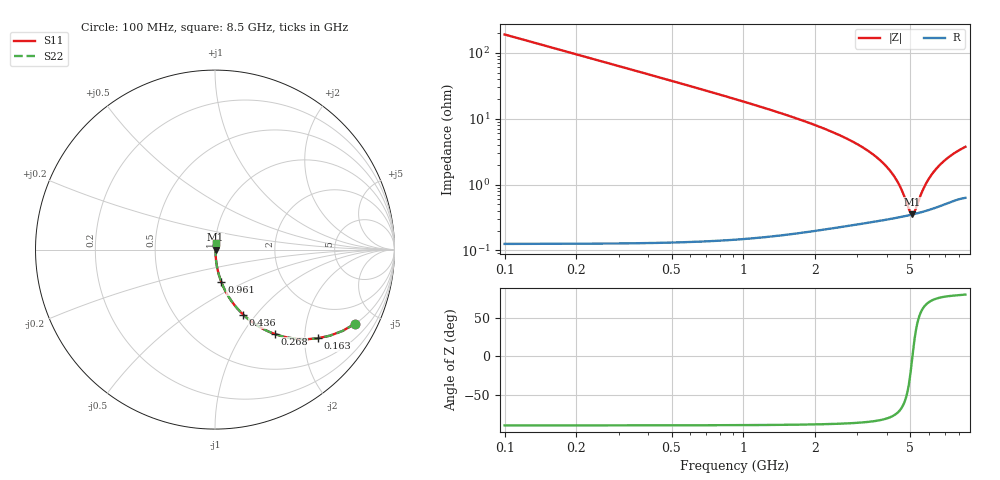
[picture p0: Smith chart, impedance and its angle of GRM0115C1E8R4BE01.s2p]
!Murata Part Number: GRM0115C1E8R4BE01
!These Parameters are Measured in Series Mode Connection
!Data Generated on Mar 30, 2021
!  o--ll--o
!Port1  Port2
!  o------o
!Operation Temp=25[degC], DC Bias Voltage=0[V]
!Freq. Start=100[MHz] Stop=9[GHz] 401[Steps]
# Hz S RI R 50
!Freq.(Hz) S11(Real) S11(Imag) S21(Real) S21(Imag) S12(Real) S12(Imag) S22(Real) S22(Imag)
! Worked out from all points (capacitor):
!   401 points, 100 MHz to 8.5 GHz, reference 50 ohm
!   read as one part in series: C = 8.4 pF near 142 MHz
!   lowest |Z| = 352 mohm at 5.098 GHz (marker M1)
!   series resonance near 5.102 GHz, so ESL is about 120 pH
!   S11 on the Smith chart (normalised r, x): 100 MHz: 1.00, -3.79; 163 MHz: 1.00, -2.32; 268 MHz: 1.00, -1.41; 436 MHz: 1.00, -0.86; 961 MHz: 1.00, -0.38; 8.5 GHz: 1.01, +0.07
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1e8  0.7818 -0.4127  0.2182 0.4127  0.2182 0.4127  0.7818 -0.4127
1.63e8  0.5741 -0.4939  0.4259 0.4939  0.4259 0.4939  0.5741 -0.4939
2.05e8  0.4599 -0.4977  0.5401 0.4977  0.5401 0.4977  0.4599 -0.4977
2.68e8  0.3322 -0.4701  0.6678 0.4701  0.6678 0.4701  0.3322 -0.4701
3.52e8  0.2234 -0.4153  0.7766 0.4153  0.7766 0.4153  0.2234 -0.4153
4.36e8  0.1575 -0.3628  0.8425 0.3628  0.8425 0.3628  0.1575 -0.3628
6.46e8  0.0778 -0.2655  0.9222 0.2655  0.9222 0.2655  0.0778 -0.2655
9.61e8  0.0361 -0.1826  0.9639 0.1826  0.9639 0.1826  0.0361 -0.1826
1.507e9  0.0145 -0.1124  0.9855 0.1124  0.9855 0.1124  0.0145 -0.1124
2.914e9  0.0043 -0.0431  0.9957 0.0431  0.9957 0.0431  0.0043 -0.0431
3.733e9  0.00335 -0.0231  0.9966 0.0231  0.9966 0.0231  0.00335 -0.0231
4.3e9  0.00324 -0.0125  0.9968 0.0125  0.9968 0.0125  0.00324 -0.0125
4.615e9  0.00329 -0.00731  0.9967 0.00731  0.9967 0.00731  0.00329 -0.00731
4.972e9  0.00343 -0.00188  0.9966 0.00188  0.9966 0.00188  0.00343 -0.00188
5.098e9  0.0035 -6.06e-05  0.9965 6.06e-05  0.9965 6.06e-05  0.0035 -6.06e-05
5.224e9  0.00358 0.00171  0.9964 -0.00171  0.9964 -0.00171  0.00358 0.00171
5.497e9  0.00378 0.0054  0.9962 -0.0054  0.9962 -0.0054  0.00378 0.0054
5.707e9  0.00396 0.00812  0.996 -0.00812  0.996 -0.00812  0.00396 0.00812
5.98e9  0.00423 0.0115  0.9958 -0.0115  0.9958 -0.0115  0.00423 0.0115
6.295e9  0.00459 0.0152  0.9954 -0.0152  0.9954 -0.0152  0.00459 0.0152
7.114e9  0.00572 0.024  0.9943 -0.024  0.9943 -0.024  0.00572 0.024
8.5e9  0.00758 0.0364  0.9924 -0.0364  0.9924 -0.0364  0.00758 0.0364
